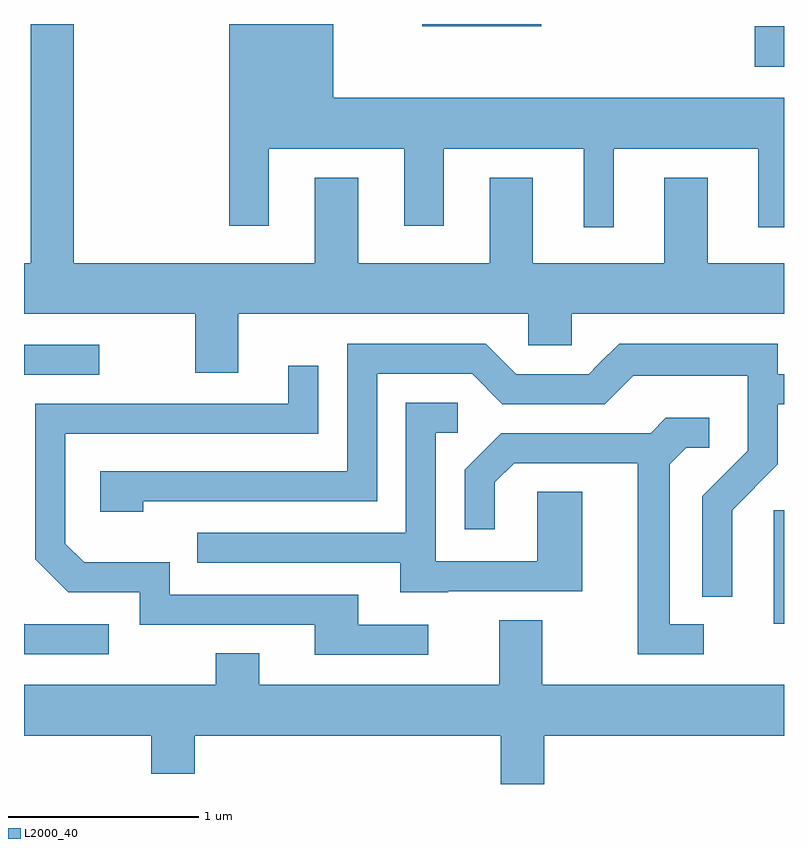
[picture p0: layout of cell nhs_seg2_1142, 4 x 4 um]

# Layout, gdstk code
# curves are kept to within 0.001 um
import gdstk
lib = gdstk.Library(unit=1e-6, precision=1e-09)
def R(c, l, rs):  # rectangles x0, y0, x1, y1
    for r in rs: c.add(gdstk.rectangle(r[:2], r[2:], *l))
def P(c, l, *ps):  # polygons
    for p in ps: c.add(gdstk.Polygon(p, *l))
L2000_40 = (2000, 40)

nhs_seg2_1142 = lib.new_cell('nhs_seg2_1142')
R(nhs_seg2_1142, L2000_40, [(221.556,1086.646,221.611,1087.244), (217.611,1087.956,218.008,1088.114), (221.456,1089.576,221.611,1089.789), (219.706,1089.791,220.334,1089.802)])
P(nhs_seg2_1142, L2000_40, [(218.739,1088.276),(220.266,1088.276),(220.266,1088.111),(220.494,1088.111),(220.494,1088.276),(221.611,1088.276),(221.611,1088.544),(221.209,1088.544),(221.209,1088.994),(220.981,1088.994),(220.981,1088.544),(220.289,1088.544),(220.289,1088.994),(220.061,1088.994),(220.061,1088.544),(219.369,1088.544),(219.369,1088.994),(219.141,1088.994),(219.141,1088.544),(217.874,1088.544),(217.874,1089.802),(217.646,1089.802),(217.646,1088.544),(217.611,1088.544),(217.611,1088.276),(218.511,1088.276),(218.511,1087.966),(218.739,1087.966)],
  [(220.714,1089.146),(221.476,1089.146),(221.476,1088.733),(221.611,1088.733),(221.611,1089.414),(219.239,1089.414),(219.239,1089.802),(218.691,1089.802),(218.691,1088.741),(218.899,1088.741),(218.899,1089.146),(219.611,1089.146),(219.611,1088.741),(219.819,1088.741),(219.819,1089.146),(220.556,1089.146),(220.556,1088.733),(220.714,1088.733)],
  [(221.339,1087.244),(221.579,1087.484),(221.579,1087.801),(221.611,1087.801),(221.611,1087.959),(221.579,1087.959),(221.579,1088.119),(220.744,1088.119),(220.584,1087.959),(220.202,1087.959),(220.042,1088.119),(219.311,1088.119),(219.311,1087.449),(218.011,1087.449),(218.011,1087.236),(218.239,1087.236),(218.239,1087.291),(219.469,1087.291),(219.469,1087.961),(219.969,1087.961),(220.129,1087.801),(220.667,1087.801),(220.817,1087.951),(221.421,1087.951),(221.421,1087.557),(221.181,1087.317),(221.181,1086.788),(221.339,1086.788)],
  [(219.738,1086.639),(219.369,1086.639),(219.369,1086.799),(218.379,1086.799),(218.379,1086.969),(217.927,1086.969),(217.829,1087.067),(217.829,1087.646),(219.159,1087.646),(219.159,1088.003),(219.001,1088.003),(219.001,1087.804),(217.671,1087.804),(217.671,1086.984),(217.844,1086.811),(218.221,1086.811),(218.221,1086.641),(219.141,1086.641),(219.141,1086.481),(219.738,1086.481)],
  [(219.845,1086.816),(220.549,1086.816),(220.549,1087.339),(220.311,1087.339),(220.311,1086.974),(219.779,1086.974),(219.779,1087.651),(219.893,1087.651),(219.893,1087.809),(219.621,1087.809),(219.621,1087.124),(218.523,1087.124),(218.523,1086.966),(219.591,1086.966),(219.591,1086.811),(219.845,1086.811)],
  [(221.188,1086.644),(221.009,1086.644),(221.009,1087.484),(221.097,1087.571),(221.218,1087.571),(221.218,1087.729),(220.989,1087.729),(220.909,1087.649),(220.124,1087.649),(219.931,1087.457),(219.931,1087.143),(220.089,1087.143),(220.089,1087.389),(220.192,1087.491),(220.841,1087.491),(220.841,1086.486),(221.188,1086.486)],
  [(220.349,1086.056),(221.611,1086.056),(221.611,1086.324),(220.339,1086.324),(220.339,1086.664),(220.111,1086.664),(220.111,1086.324),(218.849,1086.324),(218.849,1086.489),(218.621,1086.489),(218.621,1086.324),(217.611,1086.324),(217.611,1086.056),(218.281,1086.056),(218.281,1085.856),(218.509,1085.856),(218.509,1086.056),(220.121,1086.056),(220.121,1085.802),(220.349,1085.802)],
  [(218.058,1086.644),(217.612,1086.644),(217.611,1086.645),(217.611,1086.486),(218.058,1086.486)])

lib.write_gds('nhs_seg2_1142.gds')
